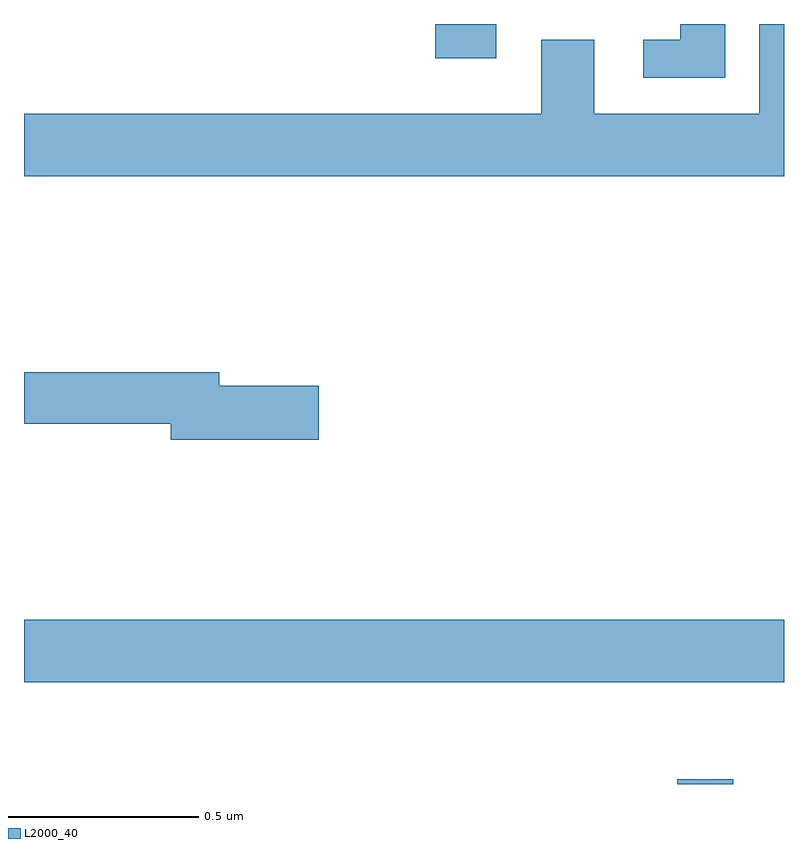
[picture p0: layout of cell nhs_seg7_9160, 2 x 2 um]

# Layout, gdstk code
import gdstk
lib = gdstk.Library(unit=1e-6, precision=1e-09)
def R(c, l, rs):  # rectangles x0, y0, x1, y1
    for r in rs: c.add(gdstk.rectangle(r[:2], r[2:], *l))
def P(c, l, *ps):  # polygons
    for p in ps: c.add(gdstk.Polygon(p, *l))
L2000_40 = (2000, 40)

nhs_seg7_9160 = lib.new_cell('nhs_seg7_9160')
R(nhs_seg7_9160, L2000_40, [(235.719,1015,235.867,1015.012), (234,1015.268,236,1015.432), (235.082,1016.91,235.243,1017)])
P(nhs_seg7_9160, L2000_40, [(236,1017),(235.935,1017),(235.935,1016.764),(235.501,1016.764),(235.501,1016.959),(235.361,1016.959),(235.361,1016.764),(234,1016.764),(234,1016.6),(236,1016.6)],
  [(235.846,1017),(235.727,1017),(235.727,1016.959),(235.629,1016.959),(235.629,1016.858),(235.846,1016.858)],
  [(234.775,1016.048),(234.514,1016.048),(234.514,1016.084),(234,1016.084),(234,1015.948),(234.386,1015.948),(234.386,1015.906),(234.775,1015.906)])

lib.write_gds('nhs_seg7_9160.gds')
